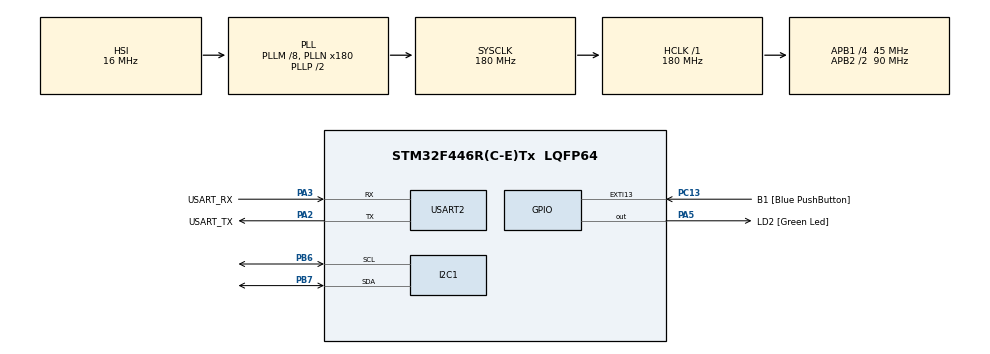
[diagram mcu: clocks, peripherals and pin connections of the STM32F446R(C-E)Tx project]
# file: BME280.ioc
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I2C1.I2C_Mode=I2C_Standard
Mcu.Family=STM32F4
Mcu.Name=STM32F446R(C-E)Tx
Mcu.Package=LQFP64
NVIC.PriorityGroup=NVIC_PRIORITYGROUP_0
PA13.GPIO_Label=TMS
PA13.Mode=Trace_Asynchronous_SW
PA13.Signal=SYS_JTMS-SWDIO
PA14.GPIO_Label=TCK
PA14.Mode=Trace_Asynchronous_SW
PA14.Signal=SYS_JTCK-SWCLK
PA2.GPIO_Label=USART_TX
PA2.Mode=Asynchronous
PA2.Signal=USART2_TX
PA3.GPIO_Label=USART_RX
PA3.Mode=Asynchronous
PA3.Signal=USART2_RX
PA5.GPIO_Label=LD2 [Green Led]
PA5.Signal=GPIO_Output
PB3.GPIO_Label=SWO
PB3.Mode=Trace_Asynchronous_SW
PB3.Signal=SYS_JTDO-SWO
PB6.Mode=I2C
PB6.Signal=I2C1_SCL
PB7.Mode=I2C
PB7.Signal=I2C1_SDA
PC13.GPIO_Label=B1 [Blue PushButton]
PC13.GPIO_ModeDefaultEXTI=GPIO_MODE_IT_FALLING
PC13.Signal=GPXTI13
PC14-OSC32_IN.Mode=LSE-External-Oscillator
PC14-OSC32_IN.Signal=RCC_OSC32_IN
PC15-OSC32_OUT.Mode=LSE-External-Oscillator
PC15-OSC32_OUT.Signal=RCC_OSC32_OUT
PH0-OSC_IN.Mode=HSE-External-Oscillator
PH0-OSC_IN.Signal=RCC_OSC_IN
PH1-OSC_OUT.Mode=HSE-External-Oscillator
PH1-OSC_OUT.Signal=RCC_OSC_OUT
ProjectManager.HeapSize=0x200
ProjectManager.StackSize=0x400
ProjectManager.TargetToolchain=STM32CubeIDE
RCC.48MHZClocksFreq_Value=84000000
RCC.AHBFreq_Value=180000000
RCC.APB1CLKDivider=RCC_HCLK_DIV4
RCC.APB1Freq_Value=45000000
RCC.APB1TimFreq_Value=90000000
RCC.APB2CLKDivider=RCC_HCLK_DIV2
RCC.APB2Freq_Value=90000000
RCC.APB2TimFreq_Value=180000000
RCC.CortexFreq_Value=180000000
RCC.FLatency-AdvancedSettings=FLASH_LATENCY_5
RCC.HCLKFreq_Value=180000000
RCC.HSE_VALUE=8000000
RCC.HSI_VALUE=16000000
RCC.PLLM=8
RCC.PLLN=180
RCC.SYSCLKFreq_VALUE=180000000
RCC.SYSCLKSource=RCC_SYSCLKSOURCE_PLLCLK
RCC.USBFreq_Value=180000000
RCC.VCOOutputFreq_Value=360000000
USART2.VirtualMode=VM_ASYNC
board=NUCLEO-F446RE

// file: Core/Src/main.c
/* USER CODE BEGIN Header */
/**
 ******************************************************************************
 * @file           : main.c
 * @brief          : Main program body
 ******************************************************************************
 * @attention
 *
 * Copyright (c) 2026 STMicroelectronics.
 * All rights reserved.
 *
 * This software is licensed under terms that can be found in the LICENSE file
 * in the root directory of this software component.
 * If no LICENSE file comes with this software, it is provided AS-IS.
 *
 ******************************************************************************
 */
/* USER CODE END Header */
#include "main.h"

/* USER CODE BEGIN Includes */
#include <stdio.h>
#include "BME280.h"
/* USER CODE END Includes */

I2C_HandleTypeDef hi2c1;

UART_HandleTypeDef huart2;

/* USER CODE BEGIN PV */
BME280_Init_t bme280Init = {
/* Configuration of BME280_Init_t structure with desired settings
 * for oversampling, mode, standby time, filter and SPI interface */
.OverSampling_T = OVERSAMPLING_1, .OverSampling_P = OVERSAMPLING_1,
		.OverSampling_H = OVERSAMPLING_1, .Mode = BME280_NORMAL_MODE,
		.T_StandBy = T_SB_1000, .Filter = FILTER_OFF, .SPI_EnOrDıs =
				SPI3_W_DISABLE };

BME280_Raw_Data_t rawData; // Variable to hold raw data from the BME280 sensor
BME280_Data_t allData; // Variable to hold processed data from the BME280 sensor
/* USER CODE END PV */

void SystemClock_Config(void);
static void MX_GPIO_Init(void);
static void MX_USART2_UART_Init(void);
static void MX_I2C1_Init(void);

int main(void) {

	/* MCU Configuration--------------------------------------------------------*/

	/* Reset of all peripherals, Initializes the Flash interface and the Systick. */
	HAL_Init();

	/* Configure the system clock */
	SystemClock_Config();

	/* Initialize all configured peripherals */
	MX_GPIO_Init();
	MX_USART2_UART_Init();
	MX_I2C1_Init();

	/* USER CODE BEGIN 2 */
	BME280Init(bme280Init); // Initialize the BME280 sensor with the specified settings

	for (uint8_t addr = 1; addr < 128; addr++) {
		if (HAL_I2C_IsDeviceReady(&hi2c1, addr << 1, 1, 100) == HAL_OK) {
			printf("Found device at 0x%02X\r\n", addr);
		}
	}

	HAL_Delay(1000);

	/* USER CODE END 2 */

	/* Infinite loop */
	while (1) {

		/* USER CODE BEGIN 3 */

		rawData = BME280_RawData(); // Read raw data from the BME280 sensor

		printf("Using Separate Functions:\r\n");
		printf("Temperature: %.2f C\r\n", BME280_getTemperature(rawData.tempr));
		printf("Pressure: %.2f hPa\r\n", BME280_getPressure(rawData.pressr));
		printf("Humidity: %.2f %%\r\n", BME280_getHumidity(rawData.humr));
		printf("Altitude (P): %.2f m\r\n\n", BME280_getAltitude(rawData.pressr));

		BME280_setTemperatureOffset(2);

		allData = BME280_getAllData(); // Get all processed data in a structure
		printf("Using All in One Function:\r\n");
		printf("Temperature: %.2f C\r\n", allData.Temperature);
		printf("Pressure: %.2f hPa\r\n", allData.Pressure);
		printf("Humidity: %.2f %%\r\n", allData.Humidity);
		printf("Altitude (P): %.2f m\r\n\n", allData.Altitude);

		HAL_Delay(1000);
	}
	/* USER CODE END 3 */
}

void SystemClock_Config(void) {
	RCC_OscInitTypeDef RCC_OscInitStruct = { 0 };
	RCC_ClkInitTypeDef RCC_ClkInitStruct = { 0 };

	/** Configure the main internal regulator output voltage
	 */
	__HAL_RCC_PWR_CLK_ENABLE();
	__HAL_PWR_VOLTAGESCALING_CONFIG(PWR_REGULATOR_VOLTAGE_SCALE1);

	/** Initializes the RCC Oscillators according to the specified parameters
	 * in the RCC_OscInitTypeDefstructure.
	 */
	RCC_OscInitStruct.OscillatorType = RCC_OSCILLATORTYPE_HSI;
	RCC_OscInitStruct.HSIState = RCC_HSI_ON;
	RCC_OscInitStruct.HSICalibrationValue = RCC_HSICALIBRATION_DEFAULT;
	RCC_OscInitStruct.PLL.PLLState = RCC_PLL_ON;
	RCC_OscInitStruct.PLL.PLLSource = RCC_PLLSOURCE_HSI;
	RCC_OscInitStruct.PLL.PLLM = 8;
	RCC_OscInitStruct.PLL.PLLN = 180;
	RCC_OscInitStruct.PLL.PLLP = RCC_PLLP_DIV2;
	RCC_OscInitStruct.PLL.PLLQ = 2;
	RCC_OscInitStruct.PLL.PLLR = 2;
	if (HAL_RCC_OscConfig(&RCC_OscInitStruct) != HAL_OK) {
		Error_Handler();
	}

	/** Activate the Over-Drive mode
	 */
	if (HAL_PWREx_EnableOverDrive() != HAL_OK) {
		Error_Handler();
	}

	/** Initializes the CPU, AHB and APB buses clocks
	 */
	RCC_ClkInitStruct.ClockType = RCC_CLOCKTYPE_HCLK | RCC_CLOCKTYPE_SYSCLK
			| RCC_CLOCKTYPE_PCLK1 | RCC_CLOCKTYPE_PCLK2;
	RCC_ClkInitStruct.SYSCLKSource = RCC_SYSCLKSOURCE_PLLCLK;
	RCC_ClkInitStruct.AHBCLKDivider = RCC_SYSCLK_DIV1;
	RCC_ClkInitStruct.APB1CLKDivider = RCC_HCLK_DIV4;
	RCC_ClkInitStruct.APB2CLKDivider = RCC_HCLK_DIV2;

	if (HAL_RCC_ClockConfig(&RCC_ClkInitStruct, FLASH_LATENCY_5) != HAL_OK) {
		Error_Handler();
	}
}

static void MX_I2C1_Init(void) {

	hi2c1.Instance = I2C1;
	hi2c1.Init.ClockSpeed = 100000;
	hi2c1.Init.DutyCycle = I2C_DUTYCYCLE_2;
	hi2c1.Init.OwnAddress1 = 0;
	hi2c1.Init.AddressingMode = I2C_ADDRESSINGMODE_7BIT;
	hi2c1.Init.DualAddressMode = I2C_DUALADDRESS_DISABLE;
	hi2c1.Init.OwnAddress2 = 0;
	hi2c1.Init.GeneralCallMode = I2C_GENERALCALL_DISABLE;
	hi2c1.Init.NoStretchMode = I2C_NOSTRETCH_DISABLE;
	if (HAL_I2C_Init(&hi2c1) != HAL_OK) {
		Error_Handler();
	}

}

static void MX_USART2_UART_Init(void) {

	huart2.Instance = USART2;
	huart2.Init.BaudRate = 115200;
	huart2.Init.WordLength = UART_WORDLENGTH_8B;
	huart2.Init.StopBits = UART_STOPBITS_1;
	huart2.Init.Parity = UART_PARITY_NONE;
	huart2.Init.Mode = UART_MODE_TX_RX;
	huart2.Init.HwFlowCtl = UART_HWCONTROL_NONE;
	huart2.Init.OverSampling = UART_OVERSAMPLING_16;
	if (HAL_UART_Init(&huart2) != HAL_OK) {
		Error_Handler();
	}

}

static void MX_GPIO_Init(void) {
	GPIO_InitTypeDef GPIO_InitStruct = { 0 };

	/* GPIO Ports Clock Enable */
	__HAL_RCC_GPIOC_CLK_ENABLE();
	__HAL_RCC_GPIOH_CLK_ENABLE();
	__HAL_RCC_GPIOA_CLK_ENABLE();
	__HAL_RCC_GPIOB_CLK_ENABLE();

	/*Configure GPIO pin Output Level */
	HAL_GPIO_WritePin(LD2_GPIO_Port, LD2_Pin, GPIO_PIN_RESET);

	/*Configure GPIO pin : B1_Pin */
	GPIO_InitStruct.Pin = B1_Pin;
	GPIO_InitStruct.Mode = GPIO_MODE_IT_FALLING;
	GPIO_InitStruct.Pull = GPIO_NOPULL;
	HAL_GPIO_Init(B1_GPIO_Port, &GPIO_InitStruct);

	/*Configure GPIO pin : LD2_Pin */
	GPIO_InitStruct.Pin = LD2_Pin;
	GPIO_InitStruct.Mode = GPIO_MODE_OUTPUT_PP;
	GPIO_InitStruct.Pull = GPIO_NOPULL;
	GPIO_InitStruct.Speed = GPIO_SPEED_FREQ_LOW;
	HAL_GPIO_Init(LD2_GPIO_Port, &GPIO_InitStruct);

}

/* USER CODE BEGIN 4 */
int __io_putchar(int ch) {
//	HAL_UART_Transmit(&huart2, (uint8_t*) &ch, 1, HAL_MAX_DELAY); // Transmit the character over UART
	ITM_SendChar(ch); // Send the character to the SWO console (for debugging)
	return ch;
}
/* USER CODE END 4 */

void Error_Handler(void) {
	__disable_irq();
	while (1) {
	}
}
